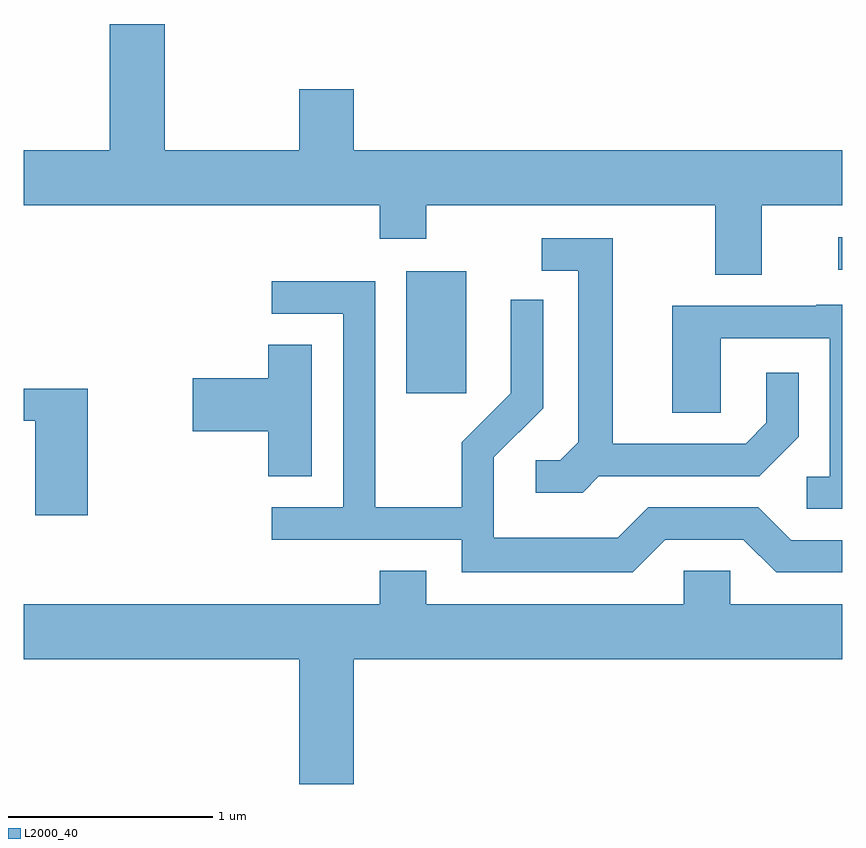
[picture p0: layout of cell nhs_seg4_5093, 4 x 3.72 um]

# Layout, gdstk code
import gdstk
lib = gdstk.Library(unit=1e-6, precision=1e-09)
def R(c, l, rs):  # rectangles x0, y0, x1, y1
    for r in rs: c.add(gdstk.rectangle(r[:2], r[2:], *l))
def P(c, l, *ps):  # polygons
    for p in ps: c.add(gdstk.Polygon(p, *l))
L2000_40 = (2000, 40)

nhs_seg4_5093 = lib.new_cell('nhs_seg4_5093')
R(nhs_seg4_5093, L2000_40, [(335.481,1378.176,335.774,1378.774), (337.593,1378.781,337.611,1378.939)])
P(nhs_seg4_5093, L2000_40, [(337.219,1379.096),(337.611,1379.096),(337.611,1379.364),(335.224,1379.364),(335.224,1379.664),(334.956,1379.664),(334.956,1379.364),(334.299,1379.364),(334.299,1379.982),(334.031,1379.982),(334.031,1379.364),(333.611,1379.364),(333.611,1379.096),(335.351,1379.096),(335.351,1378.931),(335.579,1378.931),(335.579,1379.096),(336.991,1379.096),(336.991,1378.756),(337.219,1378.756)],
  [(336.422,1377.771),(337.207,1377.771),(337.399,1377.964),(337.399,1378.278),(337.241,1378.278),(337.241,1378.032),(337.139,1377.929),(336.489,1377.929),(336.489,1378.934),(336.143,1378.934),(336.143,1378.776),(336.321,1378.776),(336.321,1377.937),(336.234,1377.849),(336.113,1377.849),(336.113,1377.691),(336.342,1377.691)],
  [(336.747,1377.461),(337.129,1377.461),(337.289,1377.301),(337.611,1377.301),(337.611,1377.459),(337.362,1377.459),(337.202,1377.619),(336.664,1377.619),(336.514,1377.469),(335.909,1377.469),(335.909,1377.864),(336.149,1378.104),(336.149,1378.633),(335.991,1378.633),(335.991,1378.177),(335.751,1377.937),(335.751,1377.619),(335.329,1377.619),(335.329,1378.724),(334.823,1378.724),(334.823,1378.566),(335.171,1378.566),(335.171,1377.619),(334.823,1377.619),(334.823,1377.461),(335.751,1377.461),(335.751,1377.301),(336.587,1377.301)],
  [(337.611,1378.609),(337.485,1378.609),(337.485,1378.604),(336.781,1378.604),(336.781,1378.081),(337.019,1378.081),(337.019,1378.446),(337.551,1378.446),(337.551,1377.769),(337.438,1377.769),(337.438,1377.611),(337.611,1377.611)],
  [(335.019,1378.414),(334.806,1378.414),(334.806,1378.249),(334.436,1378.249),(334.436,1377.991),(334.806,1377.991),(334.806,1377.771),(335.019,1377.771)],
  [(333.924,1378.199),(333.611,1378.199),(333.611,1378.041),(333.666,1378.041),(333.666,1377.581),(333.924,1377.581)],
  [(335.224,1376.876),(337.611,1376.876),(337.611,1377.144),(337.064,1377.144),(337.064,1377.309),(336.836,1377.309),(336.836,1377.144),(335.579,1377.144),(335.579,1377.309),(335.351,1377.309),(335.351,1377.144),(333.611,1377.144),(333.611,1376.876),(334.956,1376.876),(334.956,1376.266),(335.224,1376.266)])

lib.write_gds('nhs_seg4_5093.gds')
